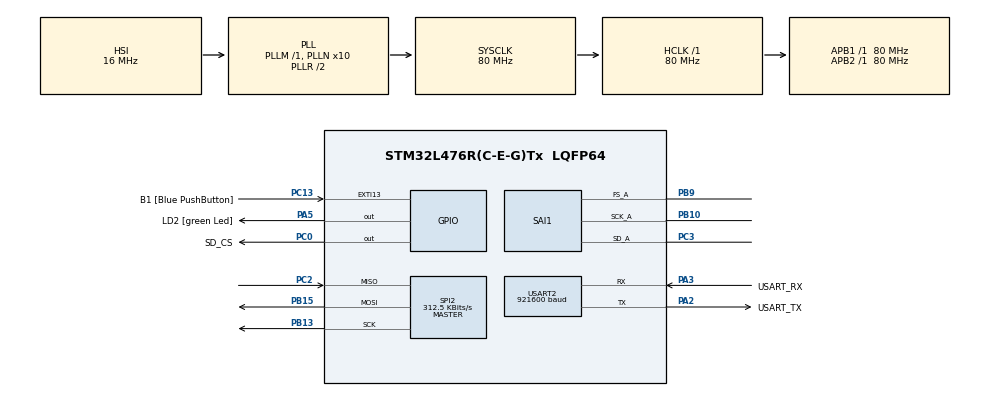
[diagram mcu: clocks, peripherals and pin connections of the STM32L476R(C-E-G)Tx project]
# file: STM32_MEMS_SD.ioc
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Dma.Request0=SAI1_A
Dma.Request1=SPI2_TX
Dma.SAI1_A.0.Direction=DMA_PERIPH_TO_MEMORY
Dma.SAI1_A.0.Instance=DMA2_Channel1
Dma.SAI1_A.0.MemDataAlignment=DMA_MDATAALIGN_WORD
Dma.SAI1_A.0.MemInc=DMA_MINC_ENABLE
Dma.SAI1_A.0.Mode=DMA_CIRCULAR
Dma.SAI1_A.0.PeriphDataAlignment=DMA_PDATAALIGN_WORD
Dma.SAI1_A.0.PeriphInc=DMA_PINC_DISABLE
Dma.SAI1_A.0.Priority=DMA_PRIORITY_HIGH
Dma.SPI2_TX.1.Direction=DMA_MEMORY_TO_PERIPH
Dma.SPI2_TX.1.Instance=DMA1_Channel5
Dma.SPI2_TX.1.MemDataAlignment=DMA_MDATAALIGN_BYTE
Dma.SPI2_TX.1.MemInc=DMA_MINC_ENABLE
Dma.SPI2_TX.1.Mode=DMA_NORMAL
Dma.SPI2_TX.1.PeriphDataAlignment=DMA_PDATAALIGN_BYTE
Dma.SPI2_TX.1.PeriphInc=DMA_PINC_DISABLE
Dma.SPI2_TX.1.Priority=DMA_PRIORITY_LOW
Mcu.Family=STM32L4
Mcu.Name=STM32L476R(C-E-G)Tx
Mcu.Package=LQFP64
NVIC.DMA1_Channel5_IRQn=true\:0\:0\:false\:false\:true\:false\:true\:true
NVIC.DMA2_Channel1_IRQn=true\:0\:0\:true\:false\:true\:false\:true\:true
NVIC.EXTI15_10_IRQn=true\:0\:0\:false\:false\:true\:true\:true\:true
NVIC.PriorityGroup=NVIC_PRIORITYGROUP_4
NVIC.SPI2_IRQn=true\:0\:0\:false\:false\:true\:true\:true\:true
PA13\ (JTMS-SWDIO).GPIO_Label=TMS
PA13\ (JTMS-SWDIO).Mode=Serial_Wire
PA13\ (JTMS-SWDIO).Signal=SYS_JTMS-SWDIO
PA14\ (JTCK-SWCLK).GPIO_Label=TCK
PA14\ (JTCK-SWCLK).Mode=Serial_Wire
PA14\ (JTCK-SWCLK).Signal=SYS_JTCK-SWCLK
PA2.GPIO_Label=USART_TX
PA2.GPIO_Mode=GPIO_MODE_AF_PP
PA2.GPIO_PuPd=GPIO_NOPULL
PA2.GPIO_Speed=GPIO_SPEED_FREQ_VERY_HIGH
PA2.Mode=Asynchronous
PA2.Signal=USART2_TX
PA3.GPIO_Label=USART_RX
PA3.GPIO_Mode=GPIO_MODE_AF_PP
PA3.GPIO_PuPd=GPIO_NOPULL
PA3.GPIO_Speed=GPIO_SPEED_FREQ_VERY_HIGH
PA3.Mode=Asynchronous
PA3.Signal=USART2_RX
PA5.GPIO_Label=LD2 [green Led]
PA5.GPIO_ModeDefaultOutputPP=GPIO_MODE_OUTPUT_PP
PA5.GPIO_PuPd=GPIO_NOPULL
PA5.GPIO_Speed=GPIO_SPEED_FREQ_LOW
PA5.Signal=GPIO_Output
PB10.Mode=SAI_A_Master
PB10.Signal=SAI1_SCK_A
PB13.Mode=Full_Duplex_Master
PB13.Signal=SPI2_SCK
PB15.Mode=Full_Duplex_Master
PB15.Signal=SPI2_MOSI
PB3\ (JTDO-TRACESWO).GPIO_Label=SWO
PB3\ (JTDO-TRACESWO).Signal=SYS_JTDO-SWO
PB9.Mode=SAI_A_Master
PB9.Signal=SAI1_FS_A
PC0.GPIO_Label=SD_CS
PC0.Signal=GPIO_Output
PC13.GPIO_Label=B1 [Blue PushButton]
PC13.GPIO_ModeDefaultEXTI=GPIO_MODE_IT_FALLING
PC13.GPIO_PuPd=GPIO_NOPULL
PC13.Signal=GPXTI13
PC14-OSC32_IN\ (PC14).Mode=LSE-External-Oscillator
PC14-OSC32_IN\ (PC14).Signal=RCC_OSC32_IN
PC15-OSC32_OUT\ (PC15).Mode=LSE-External-Oscillator
PC15-OSC32_OUT\ (PC15).Signal=RCC_OSC32_OUT
PC2.Mode=Full_Duplex_Master
PC2.Signal=SPI2_MISO
PC3.Mode=SAI_A_Master
PC3.Signal=SAI1_SD_A
PH0-OSC_IN\ (PH0).Signal=RCC_OSC_IN
PH1-OSC_OUT\ (PH1).Signal=RCC_OSC_OUT
ProjectManager.HeapSize=0x200
ProjectManager.StackSize=0x400
ProjectManager.TargetToolchain=STM32CubeIDE
RCC.ADCFreq_Value=64000000
RCC.AHBFreq_Value=80000000
RCC.APB1Freq_Value=80000000
RCC.APB1TimFreq_Value=80000000
RCC.APB2Freq_Value=80000000
RCC.APB2TimFreq_Value=80000000
RCC.CortexFreq_Value=80000000
RCC.HCLKFreq_Value=80000000
RCC.HSE_VALUE=8000000
RCC.HSI_VALUE=16000000
RCC.MSI_VALUE=4000000
RCC.PLLN=10
RCC.PLLSourceVirtual=RCC_PLLSOURCE_HSI
RCC.SYSCLKFreq_VALUE=80000000
RCC.SYSCLKSource=RCC_SYSCLKSOURCE_PLLCLK
RCC.USBFreq_Value=64000000
RCC.VCOOutputFreq_Value=160000000
SAI1.AudioFrequency-SAI_A_Master=SAI_AUDIO_FREQUENCY_16K
SAI1.AudioMode-SAI_A_Master=SAI_MODEMASTER_RX
SAI1.BasicDataSize-SAI_A_Master=SAI_PROTOCOL_DATASIZE_32BIT
SAI1.ErrorAudioFreq-SAI_A_Master=11.6 %
SAI1.InitProtocol-SAI_A_Master=Enable
SAI1.Instance-SAI_A_Master=SAI$Index_Block_A
SAI1.MClockEnable-SAI_A_Master=SAI_MASTERCLOCK_DISABLE
SAI1.MonoStereoMode-SAI_A_Master=SAI_MONOMODE
SAI1.RealAudioFreq-SAI_A_Master=17.857 KHz
SAI1.VirtualMode-SAI_A_Master=VM_MASTER
SAI1.VirtualProtocol-SAI_A_BASIC=VM_BASIC_PROTOCOL
SPI2.BaudRatePrescaler=SPI_BAUDRATEPRESCALER_256
SPI2.CalculateBaudRate=312.5 KBits/s
SPI2.DataSize=SPI_DATASIZE_8BIT
SPI2.Direction=SPI_DIRECTION_2LINES
SPI2.Mode=SPI_MODE_MASTER
SPI2.VirtualType=VM_MASTER
USART2.BaudRate=921600
USART2.VirtualMode-Asynchronous=VM_ASYNC
VP_FATFS_VS_Generic.Mode=User_defined
VP_SAI1_VP_$IpInstance_SAIA_SAI_BASIC.Mode=SAI_A_BASIC
board=NUCLEO-L476RG

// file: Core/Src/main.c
/* USER CODE BEGIN Header */
/**
  ******************************************************************************
  * @file           : main.c
  * @brief          : Main program body
  ******************************************************************************
  * @attention
  *
  * Copyright (c) 2026 STMicroelectronics.
  * All rights reserved.
  *
  * This software is licensed under terms that can be found in the LICENSE file
  * in the root directory of this software component.
  * If no LICENSE file comes with this software, it is provided AS-IS.
  *
  ******************************************************************************
  */
/* USER CODE END Header */
#include "main.h"
#include "fatfs.h"

/* USER CODE BEGIN Includes */
#include <string.h>
#include "stdio.h"
#include "sdcard.h"
#include "sd_spi.h"
#include "wav_writer.h"
/* USER CODE END Includes */

SAI_HandleTypeDef hsai_BlockA1;
DMA_HandleTypeDef hdma_sai1_a;

SPI_HandleTypeDef hspi2;
DMA_HandleTypeDef hdma_spi2_tx;

UART_HandleTypeDef huart2;

/* USER CODE BEGIN PV */
/*
 * variables for recording on computer
uint32_t micBuffer[512];
int16_t pcm16[512];
volatile uint32_t lastButtonTime = 0;
*/
/* USER CODE END PV */

void SystemClock_Config(void);
static void MX_GPIO_Init(void);
static void MX_DMA_Init(void);
static void MX_SAI1_Init(void);
static void MX_USART2_UART_Init(void);
static void MX_SPI2_Init(void);

/* USER CODE BEGIN PFP */
#define AUDIO_SAMPLE_RATE     17857
#define AUDIO_BITS_PER_SAMPLE 16
#define AUDIO_CHANNELS        1
#define RECORD_SECONDS        5
#define AUDIO_BUFFER_SAMPLES 4096

static FRESULT Start_Recording(void);
static FRESULT Stop_Recording(void);
static void SD_SPI_SetFast(void);

static volatile uint8_t startRequest = 0;
static volatile uint8_t stopRequest = 0;
static volatile uint32_t lastButtonTime = 0;

static uint32_t micBuffer[AUDIO_BUFFER_SAMPLES];
static int16_t pcmBuffer[AUDIO_BUFFER_SAMPLES];

static volatile uint8_t dmaFinished = 0;
static volatile uint8_t halfReady = 0;
static volatile uint8_t fullReady = 0;
static volatile uint8_t buttonToggle = 0;

static FIL wav_file;
static volatile uint8_t recording = 0;
static volatile uint32_t samples_written = 0;
static const uint32_t target_samples = AUDIO_SAMPLE_RATE * RECORD_SECONDS;

static uint8_t sector0[512];
static uint8_t write_buffer[512];
static uint8_t read_buffer[512];

/* USER CODE END PFP */

int main(void)
{

  /* MCU Configuration--------------------------------------------------------*/

  /* Reset of all peripherals, Initializes the Flash interface and the Systick. */
  HAL_Init();

  /* Configure the system clock */
  SystemClock_Config();

  /* Initialize all configured peripherals */
  MX_GPIO_Init();
  MX_DMA_Init();
  MX_SAI1_Init();
  MX_USART2_UART_Init();
  MX_SPI2_Init();
  MX_FATFS_Init();
  /* USER CODE BEGIN 2 */

  //HAL_SAI_Receive_DMA(&hsai_BlockA1, (uint8_t*)micBuffer, 512);

  FATFS fs;
  FRESULT res;

  HAL_Delay(500);
  res = f_mount(&fs, "", 1);

  HAL_Delay(500);
  res = f_mount(&fs, "", 1);

  if (res == FR_OK)
  {
      SD_SPI_SetFast();
  }

  if (res == FR_OK)
  {
      res = f_mkdir("DATA");

      if (res == FR_EXIST)
          res = FR_OK;
  }

  /* USER CODE END 2 */

  /* Infinite loop */
  while (1)
  {

    /* USER CODE BEGIN 3 */
	  if (startRequest)
	  {
	      startRequest = 0;

	      if (!recording && res == FR_OK)
	      {
	          res = Start_Recording();

	          if (res == FR_OK)
	          {
	              halfReady = 0;
	              fullReady = 0;

	              HAL_SAI_Receive_DMA(&hsai_BlockA1,
	                                  (uint8_t *)micBuffer,
	                                  AUDIO_BUFFER_SAMPLES);

	              HAL_GPIO_WritePin(LD2_GPIO_Port, LD2_Pin, GPIO_PIN_SET);
	          }
	      }
	  }

	  if (stopRequest)
	  {
	      stopRequest = 0;

	      if (recording)
	      {
	          HAL_SAI_DMAStop(&hsai_BlockA1);
	          res = Stop_Recording();

	          HAL_GPIO_WritePin(LD2_GPIO_Port, LD2_Pin, GPIO_PIN_RESET);
	      }
	  }

	  if (recording && halfReady)
	  {
	      halfReady = 0;

	      for (uint16_t i = 0; i < AUDIO_BUFFER_SAMPLES / 2; i++)
	      {
	          pcmBuffer[i] = (int16_t)((int32_t)micBuffer[i] >> 14);
	      }

	      res = WAV_WriteSamples(&wav_file,
	                             pcmBuffer,
	                             AUDIO_BUFFER_SAMPLES / 2);
	  }

	  if (recording && fullReady)
	  {
	      fullReady = 0;

	      for (uint16_t i = AUDIO_BUFFER_SAMPLES / 2; i < AUDIO_BUFFER_SAMPLES; i++)
	      {
	          pcmBuffer[i - AUDIO_BUFFER_SAMPLES / 2] =
	              (int16_t)((int32_t)micBuffer[i] >> 14);
	      }

	      res = WAV_WriteSamples(&wav_file,
	                             pcmBuffer,
	                             AUDIO_BUFFER_SAMPLES / 2);
	  }

  }

  /* USER CODE END 3 */
}
void SystemClock_Config(void)
{
  RCC_OscInitTypeDef RCC_OscInitStruct = {0};
  RCC_ClkInitTypeDef RCC_ClkInitStruct = {0};

  /** Configure the main internal regulator output voltage
  */
  if (HAL_PWREx_ControlVoltageScaling(PWR_REGULATOR_VOLTAGE_SCALE1) != HAL_OK)
  {
    Error_Handler();
  }

  /** Initializes the RCC Oscillators according to the specified parameters
  * in the RCC_OscInitTypeDef structure.
  */
  RCC_OscInitStruct.OscillatorType = RCC_OSCILLATORTYPE_HSI;
  RCC_OscInitStruct.HSIState = RCC_HSI_ON;
  RCC_OscInitStruct.HSICalibrationValue = RCC_HSICALIBRATION_DEFAULT;
  RCC_OscInitStruct.PLL.PLLState = RCC_PLL_ON;
  RCC_OscInitStruct.PLL.PLLSource = RCC_PLLSOURCE_HSI;
  RCC_OscInitStruct.PLL.PLLM = 1;
  RCC_OscInitStruct.PLL.PLLN = 10;
  RCC_OscInitStruct.PLL.PLLP = RCC_PLLP_DIV7;
  RCC_OscInitStruct.PLL.PLLQ = RCC_PLLQ_DIV2;
  RCC_OscInitStruct.PLL.PLLR = RCC_PLLR_DIV2;
  if (HAL_RCC_OscConfig(&RCC_OscInitStruct) != HAL_OK)
  {
    Error_Handler();
  }

  /** Initializes the CPU, AHB and APB buses clocks
  */
  RCC_ClkInitStruct.ClockType = RCC_CLOCKTYPE_HCLK|RCC_CLOCKTYPE_SYSCLK
                              |RCC_CLOCKTYPE_PCLK1|RCC_CLOCKTYPE_PCLK2;
  RCC_ClkInitStruct.SYSCLKSource = RCC_SYSCLKSOURCE_PLLCLK;
  RCC_ClkInitStruct.AHBCLKDivider = RCC_SYSCLK_DIV1;
  RCC_ClkInitStruct.APB1CLKDivider = RCC_HCLK_DIV1;
  RCC_ClkInitStruct.APB2CLKDivider = RCC_HCLK_DIV1;

  if (HAL_RCC_ClockConfig(&RCC_ClkInitStruct, FLASH_LATENCY_4) != HAL_OK)
  {
    Error_Handler();
  }
}

static void MX_SAI1_Init(void)
{

  hsai_BlockA1.Instance = SAI1_Block_A;
  hsai_BlockA1.Init.AudioMode = SAI_MODEMASTER_RX;
  hsai_BlockA1.Init.Synchro = SAI_ASYNCHRONOUS;
  hsai_BlockA1.Init.OutputDrive = SAI_OUTPUTDRIVE_DISABLE;
  hsai_BlockA1.Init.NoDivider = SAI_MASTERDIVIDER_ENABLE;
  hsai_BlockA1.Init.FIFOThreshold = SAI_FIFOTHRESHOLD_EMPTY;
  hsai_BlockA1.Init.AudioFrequency = SAI_AUDIO_FREQUENCY_16K;
  hsai_BlockA1.Init.SynchroExt = SAI_SYNCEXT_DISABLE;
  hsai_BlockA1.Init.MonoStereoMode = SAI_MONOMODE;
  hsai_BlockA1.Init.CompandingMode = SAI_NOCOMPANDING;
  if (HAL_SAI_InitProtocol(&hsai_BlockA1, SAI_I2S_STANDARD, SAI_PROTOCOL_DATASIZE_32BIT, 2) != HAL_OK)
  {
    Error_Handler();
  }

}

static void MX_SPI2_Init(void)
{

  /* SPI2 parameter configuration*/
  hspi2.Instance = SPI2;
  hspi2.Init.Mode = SPI_MODE_MASTER;
  hspi2.Init.Direction = SPI_DIRECTION_2LINES;
  hspi2.Init.DataSize = SPI_DATASIZE_8BIT;
  hspi2.Init.CLKPolarity = SPI_POLARITY_LOW;
  hspi2.Init.CLKPhase = SPI_PHASE_1EDGE;
  hspi2.Init.NSS = SPI_NSS_SOFT;
  hspi2.Init.BaudRatePrescaler = SPI_BAUDRATEPRESCALER_256;
  hspi2.Init.FirstBit = SPI_FIRSTBIT_MSB;
  hspi2.Init.TIMode = SPI_TIMODE_DISABLE;
  hspi2.Init.CRCCalculation = SPI_CRCCALCULATION_DISABLE;
  hspi2.Init.CRCPolynomial = 7;
  hspi2.Init.CRCLength = SPI_CRC_LENGTH_DATASIZE;
  hspi2.Init.NSSPMode = SPI_NSS_PULSE_ENABLE;
  if (HAL_SPI_Init(&hspi2) != HAL_OK)
  {
    Error_Handler();
  }

}

static void MX_USART2_UART_Init(void)
{

  huart2.Instance = USART2;
  huart2.Init.BaudRate = 921600;
  huart2.Init.WordLength = UART_WORDLENGTH_8B;
  huart2.Init.StopBits = UART_STOPBITS_1;
  huart2.Init.Parity = UART_PARITY_NONE;
  huart2.Init.Mode = UART_MODE_TX_RX;
  huart2.Init.HwFlowCtl = UART_HWCONTROL_NONE;
  huart2.Init.OverSampling = UART_OVERSAMPLING_16;
  huart2.Init.OneBitSampling = UART_ONE_BIT_SAMPLE_DISABLE;
  huart2.AdvancedInit.AdvFeatureInit = UART_ADVFEATURE_NO_INIT;
  if (HAL_UART_Init(&huart2) != HAL_OK)
  {
    Error_Handler();
  }

}

static void MX_DMA_Init(void)
{

  /* DMA controller clock enable */
  __HAL_RCC_DMA2_CLK_ENABLE();
  __HAL_RCC_DMA1_CLK_ENABLE();

  /* DMA interrupt init */
  /* DMA1_Channel5_IRQn interrupt configuration */
  HAL_NVIC_SetPriority(DMA1_Channel5_IRQn, 0, 0);
  HAL_NVIC_EnableIRQ(DMA1_Channel5_IRQn);
  /* DMA2_Channel1_IRQn interrupt configuration */
  HAL_NVIC_SetPriority(DMA2_Channel1_IRQn, 0, 0);
  HAL_NVIC_EnableIRQ(DMA2_Channel1_IRQn);

}

static void MX_GPIO_Init(void)
{
  GPIO_InitTypeDef GPIO_InitStruct = {0};

  /* GPIO Ports Clock Enable */
  __HAL_RCC_GPIOC_CLK_ENABLE();
  __HAL_RCC_GPIOH_CLK_ENABLE();
  __HAL_RCC_GPIOA_CLK_ENABLE();
  __HAL_RCC_GPIOB_CLK_ENABLE();

  /*Configure GPIO pin Output Level */
  HAL_GPIO_WritePin(SD_CS_GPIO_Port, SD_CS_Pin, GPIO_PIN_RESET);

  /*Configure GPIO pin Output Level */
  HAL_GPIO_WritePin(LD2_GPIO_Port, LD2_Pin, GPIO_PIN_RESET);

  /*Configure GPIO pin : B1_Pin */
  GPIO_InitStruct.Pin = B1_Pin;
  GPIO_InitStruct.Mode = GPIO_MODE_IT_FALLING;
  GPIO_InitStruct.Pull = GPIO_NOPULL;
  HAL_GPIO_Init(B1_GPIO_Port, &GPIO_InitStruct);

  /*Configure GPIO pin : SD_CS_Pin */
  GPIO_InitStruct.Pin = SD_CS_Pin;
  GPIO_InitStruct.Mode = GPIO_MODE_OUTPUT_PP;
  GPIO_InitStruct.Pull = GPIO_NOPULL;
  GPIO_InitStruct.Speed = GPIO_SPEED_FREQ_LOW;
  HAL_GPIO_Init(SD_CS_GPIO_Port, &GPIO_InitStruct);

  /*Configure GPIO pin : LD2_Pin */
  GPIO_InitStruct.Pin = LD2_Pin;
  GPIO_InitStruct.Mode = GPIO_MODE_OUTPUT_PP;
  GPIO_InitStruct.Pull = GPIO_NOPULL;
  GPIO_InitStruct.Speed = GPIO_SPEED_FREQ_LOW;
  HAL_GPIO_Init(LD2_GPIO_Port, &GPIO_InitStruct);

  /* EXTI interrupt init*/
  HAL_NVIC_SetPriority(EXTI15_10_IRQn, 0, 0);
  HAL_NVIC_EnableIRQ(EXTI15_10_IRQn);

}

/* USER CODE BEGIN 4 */

// Helper functions for recording on computer
/*void HAL_GPIO_EXTI_Callback(uint16_t GPIO_Pin)
{
    if (GPIO_Pin == B1_Pin)
    {
        uint32_t now = HAL_GetTick();

        if (now - lastButtonTime > 300)
        {
            lastButtonTime = now;
            recording = !recording;

            if (recording)
            {
                char msg[] = "START\r\n";

                HAL_UART_Transmit(&huart2,
                                  (uint8_t*)msg,
                                  strlen(msg),
                                  HAL_MAX_DELAY);
            }
            else
            {
                char msg[] = "STOP\r\n";

                HAL_UART_Transmit(&huart2,
                                  (uint8_t*)msg,
                                  strlen(msg),
                                  HAL_MAX_DELAY);
            }
        }
    }
}

void HAL_SAI_RxCpltCallback(SAI_HandleTypeDef *hsai)
{
    if (!recording)
    {
        return;
    }

    for (int i = 0; i < 512; i++)
    {
        pcm16[i] = (int16_t)((int32_t)micBuffer[i] >> 13);
    }

    HAL_UART_Transmit(&huart2,
                      (uint8_t*)pcm16,
                      sizeof(pcm16),
                      HAL_MAX_DELAY);
}*/

// Helper functions for recording on SD card.
static FRESULT Start_Recording(void)
{
    FRESULT res;

    samples_written = 0;

    res = WAV_Start(&wav_file,
                    "DATA/RECORD.WAV",
                    AUDIO_SAMPLE_RATE,
                    AUDIO_BITS_PER_SAMPLE,
                    AUDIO_CHANNELS);

    if (res != FR_OK)
    {
        recording = 0;
        return res;
    }

    recording = 1;
    return FR_OK;
}

static FRESULT Stop_Recording(void)
{
    FRESULT res;

    recording = 0;

    res = WAV_Finish(&wav_file);

    return res;
}

void HAL_SAI_RxHalfCpltCallback(SAI_HandleTypeDef *hsai)
{
    if (hsai == &hsai_BlockA1 && recording)
        halfReady = 1;
}

void HAL_SAI_RxCpltCallback(SAI_HandleTypeDef *hsai)
{
    if (hsai == &hsai_BlockA1 && recording)
        fullReady = 1;
}

void HAL_GPIO_EXTI_Callback(uint16_t GPIO_Pin)
{
    if (GPIO_Pin == B1_Pin)
    {
        uint32_t now = HAL_GetTick();

        if (now - lastButtonTime < 300)
            return;

        lastButtonTime = now;

        buttonToggle ^= 1;

        if (buttonToggle)
            startRequest = 1;
        else
            stopRequest = 1;
    }
}
static void SD_SPI_SetFast(void)
{
    HAL_SPI_DeInit(&hspi2);

    hspi2.Init.BaudRatePrescaler = SPI_BAUDRATEPRESCALER_16;

    if (HAL_SPI_Init(&hspi2) != HAL_OK)
    {
        Error_Handler();
    }
}
/* USER CODE END 4 */

void Error_Handler(void)
{
  __disable_irq();
  while (1)
  {
  }
}
